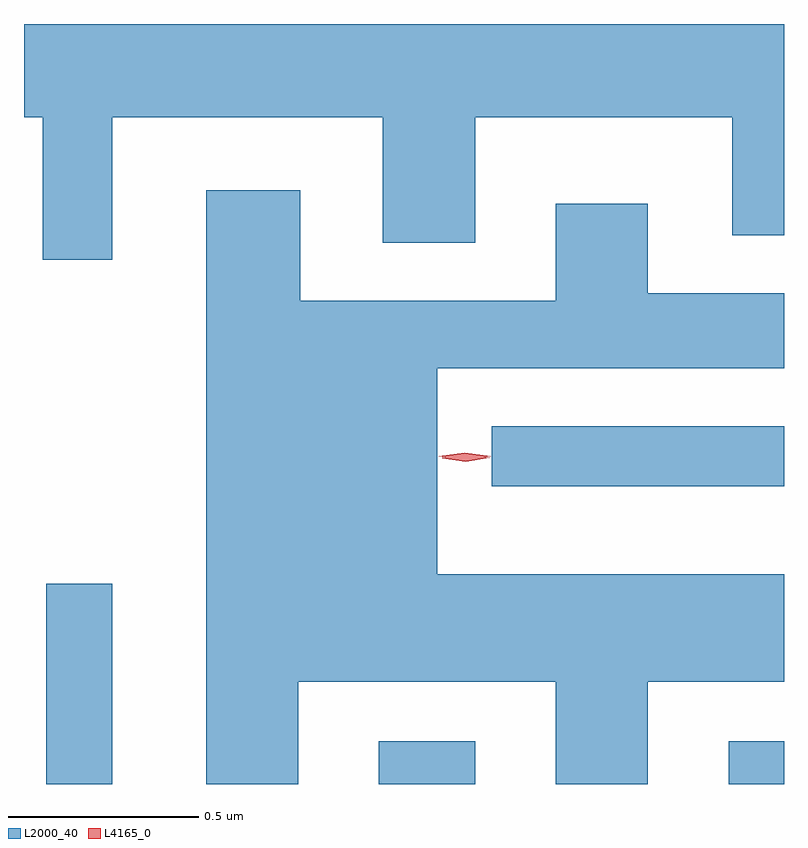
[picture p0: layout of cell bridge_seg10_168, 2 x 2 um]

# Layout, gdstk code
import gdstk
lib = gdstk.Library(unit=1e-6, precision=1e-09)
def R(c, l, rs):  # rectangles x0, y0, x1, y1
    for r in rs: c.add(gdstk.rectangle(r[:2], r[2:], *l))
def P(c, l, *ps):  # polygons
    for p in ps: c.add(gdstk.Polygon(p, *l))
L2000_40 = (2000, 40)
L4165_0 = (4165, 0)

bridge_seg10_168 = lib.new_cell('bridge_seg10_168')
R(bridge_seg10_168, L2000_40, [(1490.371,2114.382,1490.544,2114.909), (1491.246,2114.382,1491.499,2114.494), (1492.166,2114.382,1492.312,2114.494), (1491.543,2115.166,1492.312,2115.324)])
P(bridge_seg10_168, L2000_40, [(1490.544,2116.136),(1491.256,2116.136),(1491.256,2115.806),(1491.499,2115.806),(1491.499,2116.136),(1492.176,2116.136),(1492.176,2115.826),(1492.312,2115.826),(1492.312,2116.382),(1490.312,2116.382),(1490.312,2116.136),(1490.361,2116.136),(1490.361,2115.761),(1490.544,2115.761)],
  [(1491.034,2114.651),(1491.711,2114.651),(1491.711,2114.382),(1491.954,2114.382),(1491.954,2114.651),(1492.312,2114.651),(1492.312,2114.934),(1491.399,2114.934),(1491.399,2115.476),(1492.312,2115.476),(1492.312,2115.674),(1491.954,2115.674),(1491.954,2115.909),(1491.711,2115.909),(1491.711,2115.654),(1491.039,2115.654),(1491.039,2115.944),(1490.791,2115.944),(1490.791,2114.382),(1491.034,2114.382)])
P(bridge_seg10_168, L4165_0, [(1491.472,2115.234),(1491.403,2115.244),(1491.402,2115.244),(1491.403,2115.244),(1491.472,2115.254),(1491.54,2115.244),(1491.54,2115.244),(1491.54,2115.244)],
  [(1491.475,2115.23),(1491.413,2115.239),(1491.412,2115.24),(1491.413,2115.24),(1491.475,2115.25),(1491.536,2115.241),(1491.537,2115.24),(1491.536,2115.24)])

lib.write_gds('bridge_seg10_168.gds')
